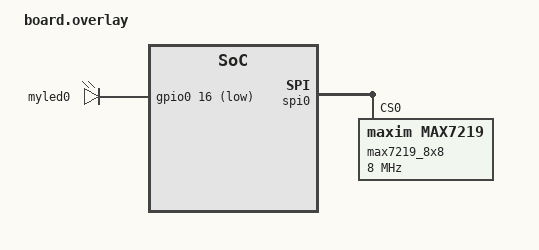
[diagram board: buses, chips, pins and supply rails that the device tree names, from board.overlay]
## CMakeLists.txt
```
cmake_minimum_required(VERSION 3.20.0)
set(BOARD rpi_pico/rp2040/w)
find_package(Zephyr REQUIRED HINTS $ENV{ZEPHYR_BASE})
project(zephyr_playground)

target_sources(app PRIVATE src/main.cpp)
```

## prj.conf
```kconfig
CONFIG_UART_INTERRUPT_DRIVEN=y
CONFIG_SPI=y
CONFIG_SYS_CLOCK_HW_CYCLES_PER_SEC=125000000
CONFIG_USE_DT_CODE_PARTITION=y
CONFIG_GPIO=y
CONFIG_SERIAL=y
CONFIG_RESET=y
CONFIG_BUILD_OUTPUT_HEX=y
CONFIG_CLOCK_CONTROL=y
CONFIG_CONSOLE=y
CONFIG_UART_CONSOLE=y
CONFIG_CPP=y
CONFIG_STD_CPP20=y
CONFIG_REQUIRES_FULL_LIBCPP=y
```

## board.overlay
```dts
// /dts-v1/;

#include <zephyr/dt-bindings/pinctrl/rpi-pico-rp2040-pinctrl.h>

/ {
    chosen {
        zephyr,display = &max7219_8x8;
    };

    aliases {
        led0 = &myled0;
    };

    leds {
        compatible = "gpio-leds";
        myled0: led_0 {
            gpios = <&gpio0 16 GPIO_ACTIVE_LOW>;
        };
    };
};

&spi0_default {
    group1 {
        pinmux = <SPI0_CSN_P5>, <SPI0_SCK_P6>, <SPI0_TX_P7>;
    };
    group2 {
        pinmux = <SPI0_RX_P4>;
    };
};

&spi0 {
    max7219_8x8: spi-device@0 {
        reg = <0>;
        status = "okay";
        compatible = "maxim,max7219";
        spi-max-frequency = <DT_FREQ_M(8)>;
        intensity = <3>;
        spi-cpol;
        spi-hold-cs;
        spi-cpha;
    };
};
```

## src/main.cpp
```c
#include <iostream>

#include <zephyr/kernel.h>
#include <zephyr/drivers/gpio.h>
#include <zephyr/device.h>
#include <zephyr/drivers/display.h>

#define LED0_NODE DT_ALIAS(led0)

static const struct gpio_dt_spec led = GPIO_DT_SPEC_GET(LED0_NODE, gpios);

int main(void) 
{ 
    if (!gpio_is_ready_dt(&led)) {
        return 0;
    }

    if(gpio_pin_configure_dt(&led, GPIO_OUTPUT_ACTIVE) < 0) {
        return 0;
    }

    const struct device* display_dev = DEVICE_DT_GET(DT_CHOSEN(zephyr_display));
    if(!device_is_ready(display_dev)) {
        std::cout << "Display not ready...\n";
        return 0;
    }
    display_set_pixel_format(display_dev, PIXEL_FORMAT_MONO01);

    display_buffer_descriptor desc;
    desc.buf_size = 1;
    desc.height = 1;
    desc.width = 1;
    desc.pitch = 1;
    uint8_t buf[1] = {1};

    int i =0;
    int j =0;
    while (1) {
        buf[0] = 0;
        int ret = display_write(display_dev,i,j,&desc, buf);
        if (ret < 0) {
            std::cout << "Error writing to display\n";
        }
        i++;
        if (i >= 8 ) {
            i = 0;
            j++;
            if (j >= 8)
                j = 0;
        }
        buf[0] = 1;
        ret = display_write(display_dev,i,j,&desc, buf);
        if (ret < 0) {
            std::cout << "Error writing to display\n";
        }
        
        ret = gpio_pin_toggle_dt(&led);
        if (ret < 0) {
            return ret;
        }
        k_msleep(1000U);
    }
    return 0;
}
```
